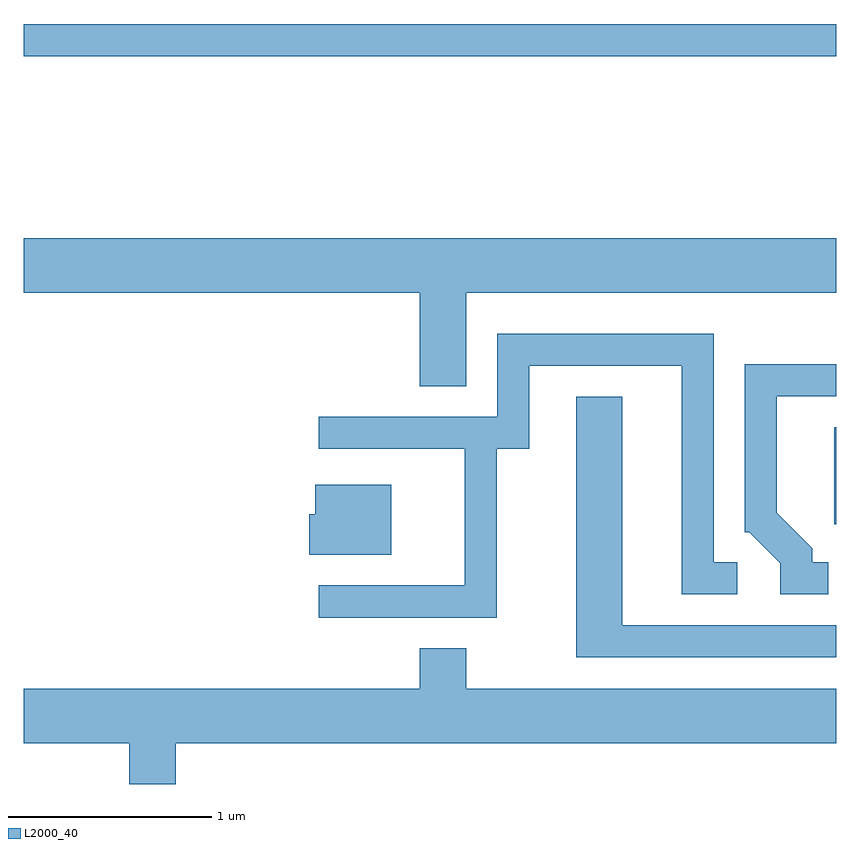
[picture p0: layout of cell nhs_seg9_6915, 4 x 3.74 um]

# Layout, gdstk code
import gdstk
lib = gdstk.Library(unit=1e-6, precision=1e-09)
def R(c, l, rs):  # rectangles x0, y0, x1, y1
    for r in rs: c.add(gdstk.rectangle(r[:2], r[2:], *l))
def P(c, l, *ps):  # polygons
    for p in ps: c.add(gdstk.Polygon(p, *l))
L2000_40 = (2000, 40)

nhs_seg9_6915 = lib.new_cell('nhs_seg9_6915')
R(nhs_seg9_6915, L2000_40, [(393.601,2001.776,393.611,2002.254), (389.611,2004.081,393.611,2004.239)])
P(nhs_seg9_6915, L2000_40, [(391.789,2002.916),(393.611,2002.916),(393.611,2003.184),(389.611,2003.184),(389.611,2002.916),(391.561,2002.916),(391.561,2002.456),(391.789,2002.456)],
  [(391.939,2002.146),(392.099,2002.146),(392.099,2002.556),(392.851,2002.556),(392.851,2001.431),(393.123,2001.431),(393.123,2001.589),(393.009,2001.589),(393.009,2002.714),(391.941,2002.714),(391.941,2002.304),(391.063,2002.304),(391.063,2002.146),(391.781,2002.146),(391.781,2001.474),(391.063,2001.474),(391.063,2001.316),(391.939,2001.316)],
  [(393.573,2001.589),(393.494,2001.589),(393.494,2001.657),(393.319,2001.832),(393.319,2002.406),(393.611,2002.406),(393.611,2002.564),(393.161,2002.564),(393.161,2001.736),(393.184,2001.736),(393.336,2001.584),(393.336,2001.431),(393.573,2001.431)],
  [(393.611,2001.279),(392.559,2001.279),(392.559,2002.404),(392.331,2002.404),(392.331,2001.121),(393.611,2001.121)],
  [(391.419,2001.969),(391.046,2001.969),(391.046,2001.824),(391.016,2001.824),(391.016,2001.626),(391.419,2001.626)],
  [(390.359,2000.696),(393.611,2000.696),(393.611,2000.964),(391.789,2000.964),(391.789,2001.164),(391.561,2001.164),(391.561,2000.964),(389.611,2000.964),(389.611,2000.696),(390.131,2000.696),(390.131,2000.496),(390.359,2000.496)])

lib.write_gds('nhs_seg9_6915.gds')
